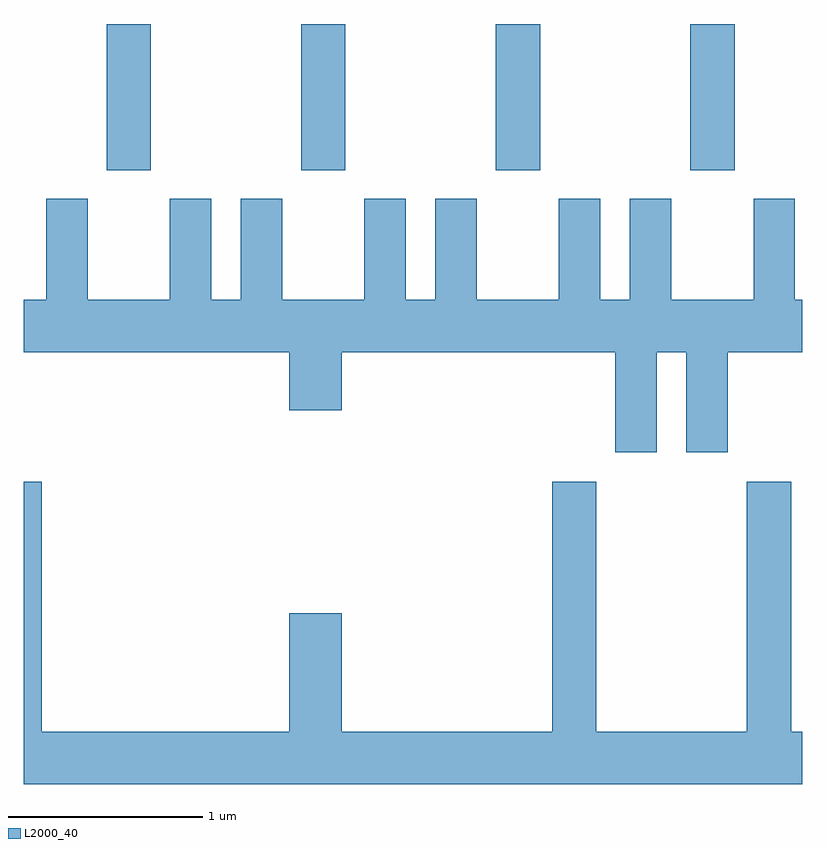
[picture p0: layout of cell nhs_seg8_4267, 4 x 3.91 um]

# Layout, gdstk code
import gdstk
lib = gdstk.Library(unit=1e-6, precision=1e-09)
def R(c, l, rs):  # rectangles x0, y0, x1, y1
    for r in rs: c.add(gdstk.rectangle(r[:2], r[2:], *l))
def A(c, l, x, y, w, h, nx, ny, dx, dy):  # array of equal rectangles
    R(c, l, [(x+i*dx, y+j*dy, x+i*dx+w, y+j*dy+h) for i in range(nx) for j in range(ny)])
def P(c, l, *ps):  # polygons
    for p in ps: c.add(gdstk.Polygon(p, *l))
L2000_40 = (2000, 40)

nhs_seg8_4267 = lib.new_cell('nhs_seg8_4267')
A(nhs_seg8_4267, L2000_40, 314.036, 1819.591, 0.228, 0.751, 4, 1, 1, 0)
P(nhs_seg8_4267, L2000_40, [(316.864,1818.656),(317.016,1818.656),(317.016,1818.141),(317.229,1818.141),(317.229,1818.656),(317.611,1818.656),(317.611,1818.924),(317.574,1818.924),(317.574,1819.444),(317.361,1819.444),(317.361,1818.924),(316.939,1818.924),(316.939,1819.444),(316.726,1819.444),(316.726,1818.924),(316.574,1818.924),(316.574,1819.444),(316.361,1819.444),(316.361,1818.924),(315.939,1818.924),(315.939,1819.444),(315.726,1819.444),(315.726,1818.924),(315.574,1818.924),(315.574,1819.444),(315.361,1819.444),(315.361,1818.924),(314.939,1818.924),(314.939,1819.444),(314.726,1819.444),(314.726,1818.924),(314.574,1818.924),(314.574,1819.444),(314.361,1819.444),(314.361,1818.924),(313.939,1818.924),(313.939,1819.444),(313.726,1819.444),(313.726,1818.924),(313.611,1818.924),(313.611,1818.656),(314.976,1818.656),(314.976,1818.356),(315.244,1818.356),(315.244,1818.656),(316.651,1818.656),(316.651,1818.141),(316.864,1818.141)],
  [(317.611,1816.704),(317.554,1816.704),(317.554,1817.989),(317.326,1817.989),(317.326,1816.704),(316.554,1816.704),(316.554,1817.989),(316.326,1817.989),(316.326,1816.704),(315.244,1816.704),(315.244,1817.314),(314.976,1817.314),(314.976,1816.704),(313.704,1816.704),(313.704,1817.989),(313.611,1817.989),(313.611,1816.436),(317.611,1816.436)])

lib.write_gds('nhs_seg8_4267.gds')
